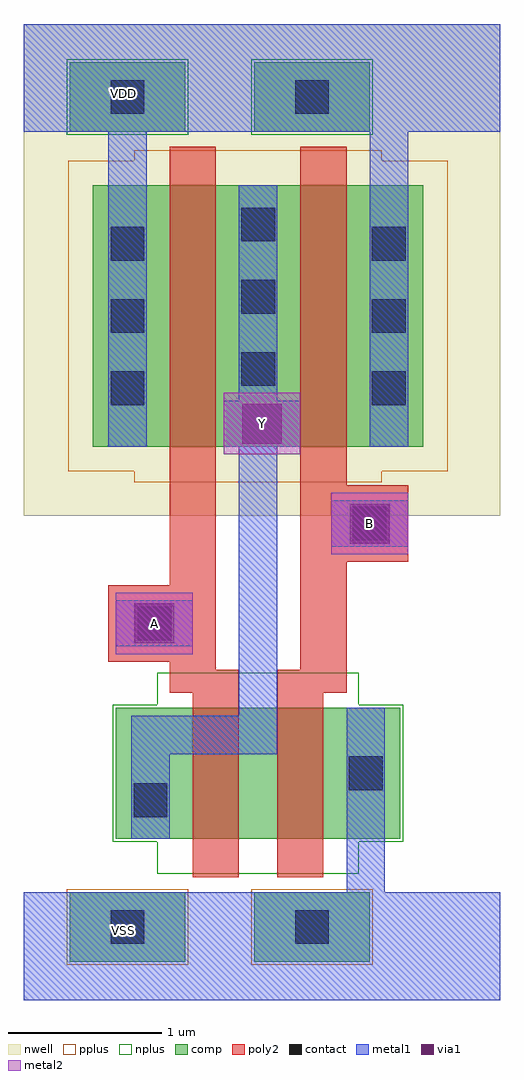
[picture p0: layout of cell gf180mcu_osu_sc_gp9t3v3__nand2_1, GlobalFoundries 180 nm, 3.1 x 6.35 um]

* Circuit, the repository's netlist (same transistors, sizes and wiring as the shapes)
* Copyright 2022 Google LLC
*
* Licensed under the Apache License, Version 2.0 (the "License");
* you may not use this file except in compliance with the License.
* You may obtain a copy of the License at
*
*      http://www.apache.org/licenses/LICENSE-2.0
*
* Unless required by applicable law or agreed to in writing, software
* distributed under the License is distributed on an "AS IS" BASIS,
* WITHOUT WARRANTIES OR CONDITIONS OF ANY KIND, either express or implied.
* See the License for the specific language governing permissions and
* limitations under the License.

.option scale=0.05u

.subckt gf180mcu_osu_sc_gp9t3v3__nand2_1 A B Y
X0 VDD B Y VDD pmos_3p3 w=34 l=6
X1 Y A VDD VDD pmos_3p3 w=34 l=6
X2 a_28_19 A Y VSS nmos_3p3 w=17 l=6
X3 VSS B a_28_19 VSS nmos_3p3 w=17 l=6
.ends

** hspice subcircuit dictionary

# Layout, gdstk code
import gdstk
lib = gdstk.Library(unit=1e-6, precision=1e-09)
def R(c, l, rs):  # rectangles x0, y0, x1, y1
    for r in rs: c.add(gdstk.rectangle(r[:2], r[2:], *l))
def A(c, l, x, y, w, h, nx, ny, dx, dy):  # array of equal rectangles
    R(c, l, [(x+i*dx, y+j*dy, x+i*dx+w, y+j*dy+h) for i in range(nx) for j in range(ny)])
nwell = (21, 0)
comp = (22, 0)
poly2 = (30, 0)
pplus = (31, 0)
nplus = (32, 0)
contact = (33, 0)
metal1 = (34, 0)
via1 = (35, 0)
metal2 = (36, 0)

gf180mcu_osu_sc_gp9t3v3_ = lib.new_cell('gf180mcu_osu_sc_gp9t3v3__nand2_1')
R(gf180mcu_osu_sc_gp9t3v3_, nwell, [(0,3.15,3.1,6.35)])
R(gf180mcu_osu_sc_gp9t3v3_, comp, [(0.3,0.25,1.05,0.7), (1.5,0.25,2.25,0.7), (0.6,1.05,2.45,1.9), (0.45,3.6,2.6,5.3), (0.3,5.65,1.05,6.1), (1.5,5.65,2.25,6.1)])
R(gf180mcu_osu_sc_gp9t3v3_, poly2, [(1.1,0.8,1.4,2), (1.65,0.8,1.95,2), (0.95,2,1.4,2.15), (1.65,2,2.1,2.15), (0.95,2.15,1.25,2.2), (1.8,2.15,2.1,2.85), (0.55,2.2,1.25,2.7), (0.95,2.7,1.25,5.55), (1.8,2.85,2.5,3.35), (1.8,3.35,2.1,5.55)])
R(gf180mcu_osu_sc_gp9t3v3_, pplus, [(0.28,0.23,1.07,0.72), (1.48,0.23,2.27,0.72), (0.72,3.37,2.33,3.44), (0.29,3.44,2.76,5.46), (0.72,5.46,2.33,5.53)])
R(gf180mcu_osu_sc_gp9t3v3_, nplus, [(0.87,0.82,2.18,1.03), (0.58,1.03,2.47,1.92), (0.87,1.92,2.18,2.13), (0.28,5.63,1.07,6.12), (1.48,5.63,2.27,6.12)])
A(gf180mcu_osu_sc_gp9t3v3_, contact, 0.565, 3.87, 0.22, 0.22, 1, 3, 0, 0.47)
A(gf180mcu_osu_sc_gp9t3v3_, contact, 2.265, 3.87, 0.22, 0.22, 1, 3, 0, 0.47)
A(gf180mcu_osu_sc_gp9t3v3_, contact, 1.415, 3.995, 0.22, 0.22, 1, 3, 0, 0.47)
R(gf180mcu_osu_sc_gp9t3v3_, contact, [(0.565,0.365,0.785,0.585), (1.765,0.365,1.985,0.585), (0.715,1.19,0.935,1.41), (2.115,1.365,2.335,1.585), (0.74,2.34,0.96,2.56), (2.14,2.99,2.36,3.21), (0.565,5.765,0.785,5.985), (1.765,5.765,1.985,5.985)])
R(gf180mcu_osu_sc_gp9t3v3_, metal1, [(0,0,3.1,0.7), (2.1,0.7,2.35,1.9), (0.7,1.05,0.95,1.6), (0.7,1.6,1.65,1.85), (1.4,1.85,1.65,3.6), (0.6,2.3,1.1,2.6), (2,2.95,2.5,3.25), (0.55,3.6,0.8,5.65), (1.3,3.6,1.8,3.9), (2.25,3.6,2.5,5.65), (1.4,3.9,1.65,5.3), (0,5.65,3.1,6.35)])
R(gf180mcu_osu_sc_gp9t3v3_, via1, [(0.72,2.32,0.98,2.58), (2.12,2.97,2.38,3.23), (1.42,3.62,1.68,3.88)])
R(gf180mcu_osu_sc_gp9t3v3_, metal2, [(0.6,2.25,1.1,2.65), (2,2.9,2.5,3.3), (1.3,3.55,1.8,3.95)])
gf180mcu_osu_sc_gp9t3v3_.add(gdstk.Label('A', (0.85,2.45), layer=36, texttype=10))
gf180mcu_osu_sc_gp9t3v3_.add(gdstk.Label('B', (2.25,3.1), layer=36, texttype=10))
gf180mcu_osu_sc_gp9t3v3_.add(gdstk.Label('Y', (1.55,3.75), layer=36, texttype=10))
gf180mcu_osu_sc_gp9t3v3_.add(gdstk.Label('VDD', (0.65,5.9), layer=34, texttype=10))
gf180mcu_osu_sc_gp9t3v3_.add(gdstk.Label('VSS', (0.65,0.45), layer=34, texttype=10))

lib.write_gds('gf180mcu_osu_sc_gp9t3v3__nand2_1.gds')
